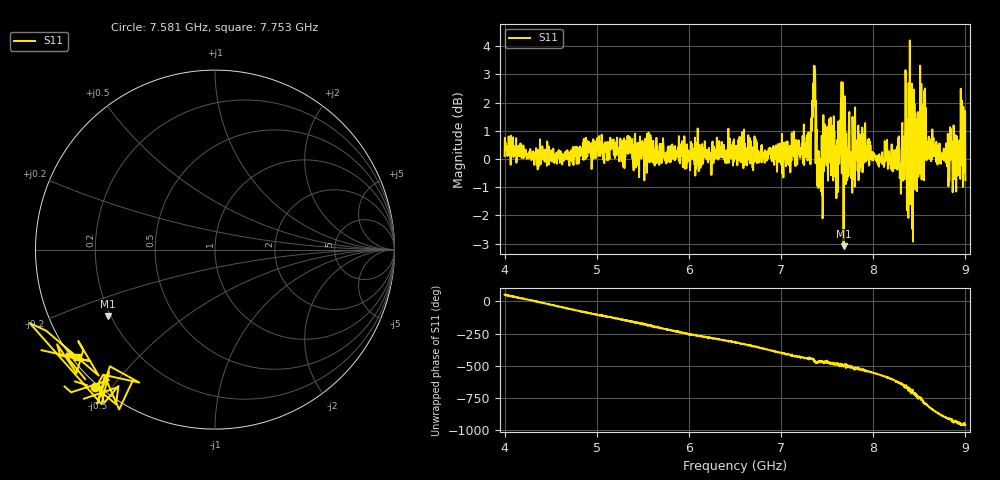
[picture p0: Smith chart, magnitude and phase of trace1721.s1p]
! Created with skrf 1.8.0 (http://scikit-rf.org).
# Hz S RI R 50.0
!freq ReS11 ImS11
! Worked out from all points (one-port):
!   1601 points, 4 GHz to 9 GHz, reference 50 ohm
!   lowest |S11| = -3.1 dB at 7.678 GHz (marker M1), VSWR 5.69, Z = 9.49 - j13.8 ohm
!   |S11| at or under -10 dB: nowhere
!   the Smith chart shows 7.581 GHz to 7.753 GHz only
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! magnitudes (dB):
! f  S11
! 4 GHz  0.1
! 4.625 GHz  -0.2
! 5.25 GHz  0.1
! 5.875 GHz  0.2
! 6.5 GHz  0.4
! 7.125 GHz  0.3
! 7.297 GHz  0.9
! 7.347 GHz  2.7
! 7.362 GHz  3.3
! 7.4 GHz  0.3
! 7.428 GHz  -0.3
! 7.481 GHz  0.0
! 7.591 GHz  0.5
! 7.619 GHz  1.3
! 7.65 GHz  2.1
! 7.678 GHz  -3.1
! 7.703 GHz  0.6
! 7.75 GHz  0.1
! 8.312 GHz  1.1
! 8.338 GHz  -0.7
! 8.375 GHz  0.1
! 8.447 GHz  2.0
! 8.544 GHz  1.8
! 8.603 GHz  0.8
! 8.806 GHz  0.0
! 8.919 GHz  0.1
! 8.972 GHz  0.8
! 9 GHz  -0.7
